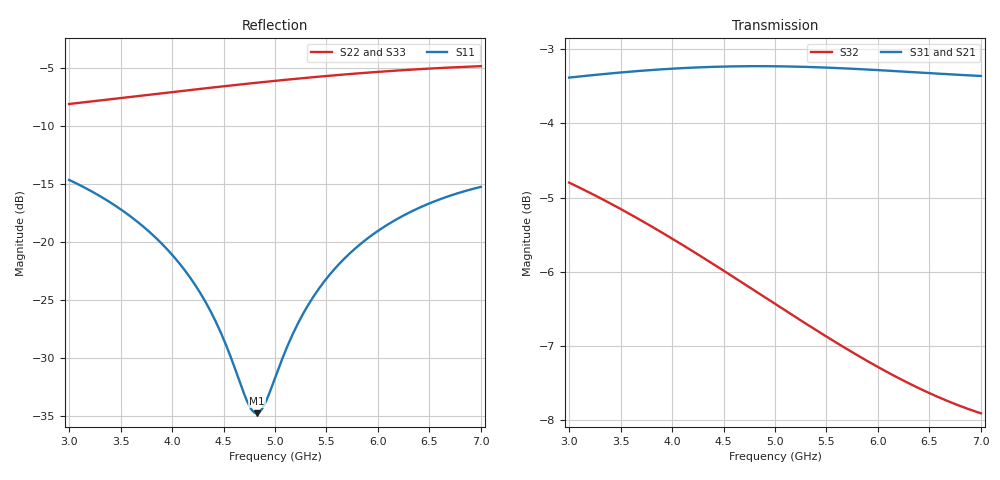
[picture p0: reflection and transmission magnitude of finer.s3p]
! yapnr rf: divider-osh-m-star-m-nom-fwd, footprint re-simulated (refine 3)
! spec sha256 bca0671be0a1030c57dfc40b246688132a6c111217a427a9ce54e2d0587478ed
! 3 ports renormalized to 50 ohm, e^(+jwt) convention
# GHz S RI R 50
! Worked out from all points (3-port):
!   161 points, 3 GHz to 7 GHz, reference 50 ohm
!   strongest paths, dB at 3 GHz, 4 GHz, 5 GHz, 6 GHz, 7 GHz:
!     S31: -3.4, -3.3, -3.2, -3.3, -3.4
!     S21: -3.4, -3.3, -3.2, -3.3, -3.4
!     S32: -4.8, -5.6, -6.4, -7.3, -7.9
!   lowest |S11| = -34.7 dB at 4.825 GHz (marker M1), VSWR 1.04, Z = 51.8 - j0.575 ohm
!   |S11| at or under -10 dB: start of sweep to end of sweep
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3  -0.0708 0.172  0.0979 -0.6704  0.0979 -0.6704
   0.0978 -0.6704  0.1433 0.3683  -0.1529 -0.5549
   0.0978 -0.6704  -0.1529 -0.5549  0.1433 0.3683
3.6  -0.013 0.1285  -0.1033 -0.676  -0.1033 -0.676
     -0.1033 -0.6759  0.2759 0.322  -0.318 -0.4458
     -0.1033 -0.6759  -0.318 -0.4458  0.2759 0.322
4.075  0.015 0.0795  -0.2605 -0.6362  -0.2605 -0.6362
       -0.2605 -0.6361  0.3689 0.2553  -0.4069 -0.3299
       -0.2605 -0.6361  -0.4069 -0.3299  0.3689 0.2553
4.375  0.0223 0.0452  -0.3536 -0.5912  -0.3536 -0.5912
       -0.3536 -0.5911  0.4189 0.2007  -0.4425 -0.2504
       -0.3536 -0.5911  -0.4425 -0.2504  0.4189 0.2007
4.825  0.0175 -0.00555  -0.4776 -0.4975  -0.4776 -0.4975
       -0.4776 -0.4974  0.4771 0.1037  -0.4676 -0.1306
       -0.4776 -0.4974  -0.4676 -0.1306  0.4771 0.1037
5  0.0107 -0.0238  -0.5194 -0.4536  -0.5194 -0.4536
   -0.5193 -0.4536  0.4934 0.062  -0.4691 -0.0855
   -0.5193 -0.4536  -0.4691 -0.0855  0.4934 0.062
5.325  -0.00854 -0.0533  -0.5854 -0.3631  -0.5854 -0.3631
       -0.5853 -0.363  0.5131 -0.0196  -0.4611 -0.00593
       -0.5853 -0.363  -0.4611 -0.00593  0.5131 -0.0196
5.725  -0.0414 -0.0794  -0.6441 -0.2392  -0.6441 -0.2392
       -0.644 -0.2391  0.5174 -0.124  -0.4356 0.0823
       -0.644 -0.2391  -0.4356 0.0823  0.5174 -0.124
6.3  -0.0979 -0.0919  -0.6819 -0.0483  -0.6819 -0.0483
     -0.6818 -0.0482  0.484 -0.2714  -0.3773 0.1877
     -0.6818 -0.0482  -0.3773 0.1877  0.484 -0.2714
7  -0.161 -0.0649  -0.6543 0.1829  -0.6543 0.1829
   -0.6541 0.1829  0.3866 -0.426  -0.2857 0.2831
   -0.6541 0.1829  -0.2857 0.2831  0.3866 -0.426
